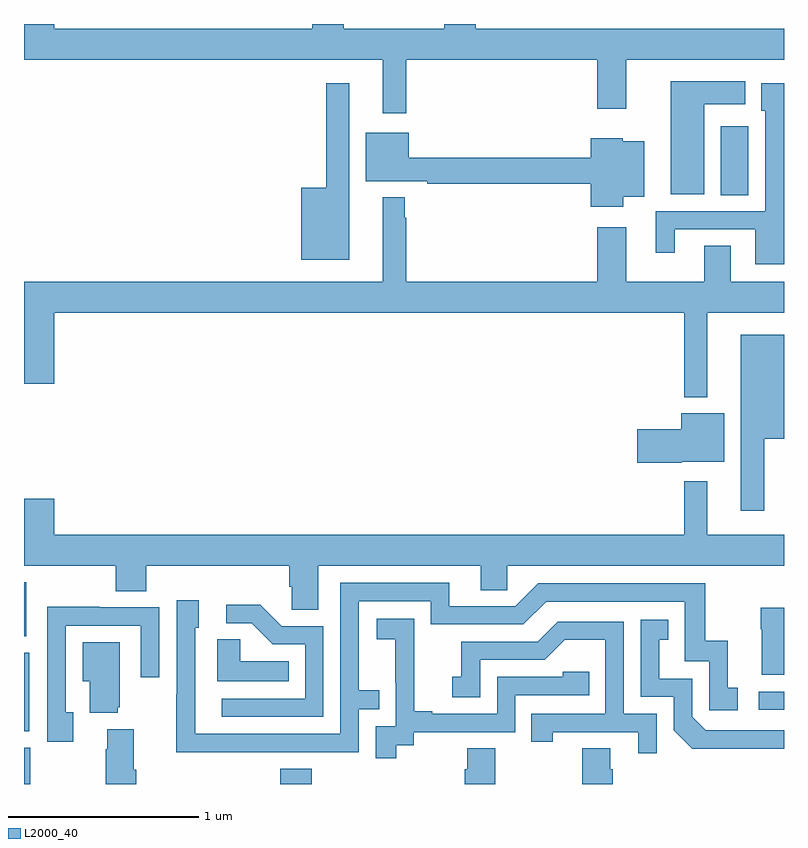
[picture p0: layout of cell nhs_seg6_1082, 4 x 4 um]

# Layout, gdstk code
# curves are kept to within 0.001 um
import gdstk
lib = gdstk.Library(unit=1e-6, precision=1e-09)
def R(c, l, rs):  # rectangles x0, y0, x1, y1
    for r in rs: c.add(gdstk.rectangle(r[:2], r[2:], *l))
def P(c, l, *ps):  # polygons
    for p in ps: c.add(gdstk.Polygon(p, *l))
L2000_40 = (2000, 40)

nhs_seg6_1082 = lib.new_cell('nhs_seg6_1082')
R(nhs_seg6_1082, L2000_40, [(177,967.5,177.033,967.692), (178.349,967.5,178.514,967.579), (177,967.777,177.028,968.192), (180.867,967.89,181,967.986), (177,968.277,177.013,968.563), (180.668,970.6,180.811,970.963)])
P(nhs_seg6_1082, L2000_40, [(179.011,971.312),(180.017,971.312),(180.017,971.055),(180.169,971.055),(180.169,971.312),(181,971.312),(181,971.476),(179.378,971.476),(179.378,971.5),(179.213,971.5),(179.213,971.476),(178.682,971.476),(178.682,971.5),(178.517,971.5),(178.517,971.476),(177.16,971.476),(177.16,971.5),(177,971.5),(177,971.312),(178.889,971.312),(178.889,971.031),(179.011,971.031)],
  [(180.58,971.078),(180.796,971.078),(180.796,971.2),(180.404,971.2),(180.404,970.604),(180.58,970.604)],
  [(178.711,971.188),(178.59,971.188),(178.59,970.639),(178.46,970.639),(178.46,970.259),(178.711,970.259)],
  [(181,971.188),(180.881,971.188),(180.881,971.043),(180.9,971.043),(180.9,970.515),(180.326,970.515),(180.326,970.296),(180.424,970.296),(180.424,970.419),(180.848,970.419),(180.848,970.235),(181,970.235)],
  [(180.154,970.592),(180.265,970.592),(180.265,970.882),(180.15,970.882),(180.15,970.9),(179.984,970.9),(179.984,970.796),(179.026,970.796),(179.026,970.927),(178.799,970.927),(178.799,970.673),(179.122,970.673),(179.122,970.66),(179.984,970.66),(179.984,970.538),(180.154,970.538)],
  [(180.595,969.98),(181,969.98),(181,970.144),(180.721,970.144),(180.721,970.334),(180.581,970.334),(180.581,970.144),(180.169,970.144),(180.169,970.429),(180.017,970.429),(180.017,970.144),(179.011,970.144),(179.011,970.481),(179.004,970.481),(179.004,970.588),(178.889,970.588),(178.889,970.144),(177,970.144),(177,969.606),(177.16,969.606),(177.16,969.98),(180.474,969.98),(180.474,969.536),(180.595,969.536)],
  [(180.895,969.317),(181,969.317),(181,969.865),(180.773,969.865),(180.773,968.937),(180.895,968.937)],
  [(180.462,969.197),(180.685,969.197),(180.685,969.451),(180.458,969.451),(180.458,969.368),(180.228,969.368),(180.228,969.19),(180.462,969.19)],
  [(180.474,969.094),(180.474,968.812),(177.16,968.812),(177.16,969.001),(177,969.001),(177,968.648),(177.484,968.648),(177.484,968.515),(177.644,968.515),(177.644,968.648),(178.397,968.648),(178.397,968.539),(178.41,968.539),(178.41,968.416),(178.549,968.416),(178.549,968.648),(179.405,968.648),(179.405,968.521),(179.544,968.521),(179.544,968.648),(181,968.648),(181,968.812),(180.595,968.812),(180.595,969.094)],
  [(178.265,967.668),(178.761,967.668),(178.761,967.893),(178.871,967.893),(178.871,967.994),(178.761,967.994),(178.761,968.463),(179.142,968.463),(179.142,968.34),(179.628,968.34),(179.748,968.46),(180.477,968.46),(180.477,968.145),(180.606,968.145),(180.606,967.887),(180.757,967.887),(180.757,968.007),(180.704,968.007),(180.704,968.254),(180.586,968.254),(180.586,968.556),(179.706,968.556),(179.586,968.436),(179.239,968.436),(179.239,968.559),(178.665,968.559),(178.665,967.764),(177.9,967.764),(177.9,968.322),(177.919,968.322),(177.919,968.467),(177.804,968.467),(177.804,967.973),(177.802,967.973),(177.802,967.667)],
  [(178.575,968.331),(178.356,968.331),(178.243,968.444),(178.065,968.444),(178.065,968.346),(178.199,968.346),(178.31,968.235),(178.479,968.235),(178.479,967.95),(178.041,967.95),(178.041,967.854),(178.575,967.854)],
  [(177.259,967.878),(177.219,967.878),(177.219,968.334),(177.615,968.334),(177.615,968.061),(177.711,968.061),(177.711,968.43),(177.395,968.43),(177.395,968.432),(177.123,968.432),(177.123,967.722),(177.259,967.722)],
  [(181,968.428),(180.877,968.428),(180.877,968.315),(180.884,968.315),(180.884,968.075),(181,968.075)],
  [(178.96,967.705),(179.052,967.705),(179.052,967.773),(179.586,967.773),(179.586,967.968),(179.975,967.968),(179.975,968.091),(179.835,968.091),(179.835,968.064),(179.49,968.064),(179.49,967.869),(179.149,967.869),(179.149,967.882),(179.054,967.882),(179.054,968.165),(179.055,968.165),(179.055,968.371),(178.857,968.371),(178.857,968.261),(178.955,968.261),(178.955,968.033),(178.956,968.033),(178.956,967.803),(178.851,967.803),(178.851,967.635),(178.96,967.635)],
  [(180.926,967.686),(181,967.686),(181,967.782),(180.588,967.782),(180.516,967.854),(180.516,968.055),(180.343,968.055),(180.343,968.259),(180.392,968.259),(180.392,968.365),(180.246,968.365),(180.246,967.959),(180.42,967.959),(180.42,967.782),(180.518,967.685)],
  [(180.33,967.869),(180.156,967.869),(180.156,968.355),(179.81,968.355),(179.705,968.25),(179.302,968.25),(179.302,968.065),(179.253,968.065),(179.253,967.956),(179.4,967.956),(179.4,968.154),(179.742,968.154),(179.846,968.258),(180.06,968.258),(180.06,967.869),(179.671,967.869),(179.671,967.722),(179.782,967.722),(179.782,967.773),(180.233,967.773),(180.233,967.662),(180.33,967.662)],
  [(178.394,968.146),(178.137,968.146),(178.137,968.261),(178.016,968.261),(178.016,968.042),(178.394,968.042)],
  [(177.494,967.905),(177.505,967.905),(177.505,968.245),(177.308,968.245),(177.308,968.042),(177.347,968.042),(177.347,967.874),(177.494,967.874)],
  [(177.59,967.576),(177.577,967.576),(177.577,967.789),(177.437,967.789),(177.437,967.682),(177.43,967.682),(177.43,967.5),(177.59,967.5)],
  [(180.098,967.578),(180.085,967.578),(180.085,967.688),(179.938,967.688),(179.938,967.5),(180.098,967.5)],
  [(179.481,967.688),(179.333,967.688),(179.333,967.578),(179.321,967.578),(179.321,967.5),(179.481,967.5)])

lib.write_gds('nhs_seg6_1082.gds')
